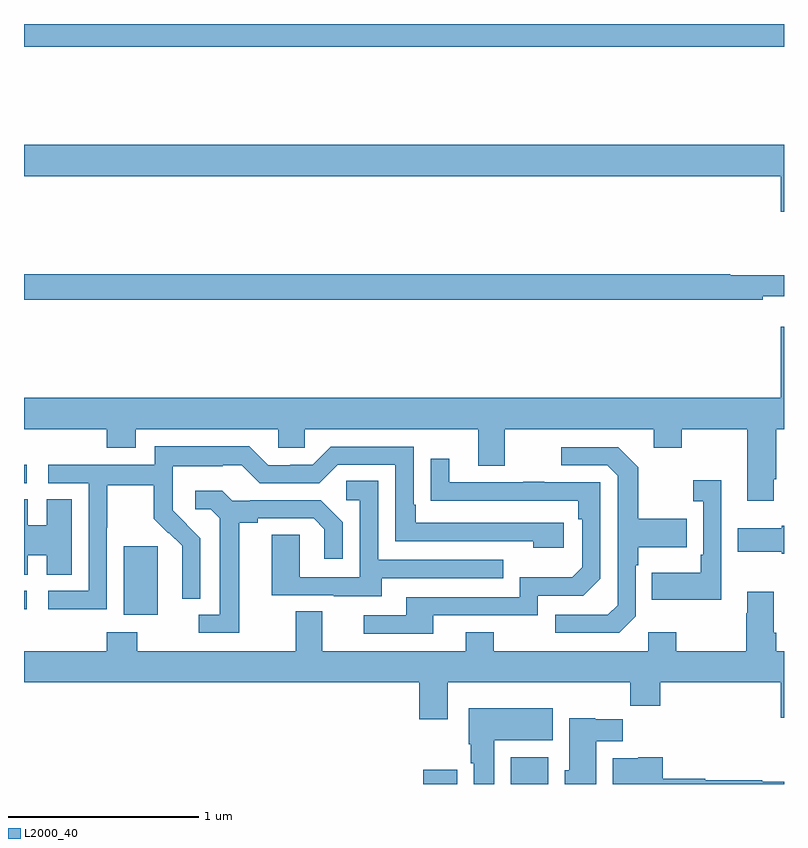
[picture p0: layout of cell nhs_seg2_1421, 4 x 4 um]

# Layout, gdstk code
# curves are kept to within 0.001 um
import gdstk
lib = gdstk.Library(unit=1e-6, precision=1e-09)
def R(c, l, rs):  # rectangles x0, y0, x1, y1
    for r in rs: c.add(gdstk.rectangle(r[:2], r[2:], *l))
def P(c, l, *ps):  # polygons
    for p in ps: c.add(gdstk.Polygon(p, *l))
L2000_40 = (2000, 40)

nhs_seg2_1421 = lib.new_cell('nhs_seg2_1421')
R(nhs_seg2_1421, L2000_40, [(187.1,613.8,187.279,613.876), (187.562,613.8,187.759,613.942), (185.525,614.69,185.704,615.051), (185,614.719,185.014,614.817), (185,615.384,185.014,615.48), (185,617.68,189,617.8)])
P(nhs_seg2_1421, L2000_40, [(189,617.164),(185,617.164),(185,617),(188.984,617),(188.984,616.812),(189,616.812)],
  [(188.888,616.367),(189,616.367),(189,616.477),(188.716,616.477),(188.716,616.484),(185,616.484),(185,616.348),(188.888,616.348)],
  [(185,615.668),(185.435,615.668),(185.435,615.569),(185.587,615.569),(185.587,615.668),(186.339,615.668),(186.339,615.57),(186.477,615.57),(186.477,615.668),(187.391,615.668),(187.391,615.474),(187.531,615.474),(187.531,615.668),(188.315,615.668),(188.315,615.569),(188.463,615.569),(188.463,615.668),(188.807,615.668),(188.807,615.291),(188.947,615.291),(188.947,615.403),(188.96,615.403),(188.96,615.668),(189,615.668),(189,616.207),(188.984,616.207),(188.984,615.832),(185,615.832)],
  [(185.436,615.148),(185.439,615.148),(185.439,615.372),(185.683,615.372),(185.683,615.197),(185.76,615.12),(185.763,615.123),(185.834,615.053),(185.834,614.93),(185.832,614.93),(185.832,614.776),(185.928,614.776),(185.928,615.094),(185.782,615.242),(185.782,615.339),(185.784,615.339),(185.784,615.473),(186.047,615.473),(186.047,615.477),(186.147,615.477),(186.24,615.384),(186.555,615.384),(186.651,615.48),(186.954,615.48),(186.954,615.078),(187.679,615.078),(187.679,615.044),(187.84,615.044),(187.84,615.174),(187.063,615.174),(187.063,615.271),(187.05,615.271),(187.05,615.576),(186.615,615.576),(186.519,615.48),(186.401,615.48),(186.401,615.477),(186.285,615.477),(186.185,615.577),(185.688,615.577),(185.688,615.48),(185.127,615.48),(185.127,615.384),(185.34,615.384),(185.34,614.817),(185.127,614.817),(185.127,614.719),(185.436,614.719)],
  [(188.22,614.682),(188.22,614.951),(188.233,614.951),(188.233,615.047),(188.489,615.047),(188.489,615.195),(188.233,615.195),(188.233,615.467),(188.127,615.573),(187.827,615.573),(187.827,615.477),(188.07,615.477),(188.124,615.423),(188.124,614.742),(188.073,614.691),(187.797,614.691),(187.797,614.595),(188.133,614.595)],
  [(187.153,614.688),(187.704,614.688),(187.704,614.79),(187.944,614.79),(188.034,614.88),(188.034,615.387),(187.739,615.387),(187.739,615.392),(187.627,615.392),(187.627,615.387),(187.237,615.387),(187.237,615.511),(187.141,615.511),(187.141,615.292),(187.918,615.291),(187.918,615.194),(187.938,615.194),(187.938,614.94),(187.885,614.887),(187.608,614.887),(187.608,614.784),(187.013,614.784),(187.013,614.688),(186.789,614.688),(186.789,614.592),(187.153,614.592)],
  [(188.67,615.4),(188.523,615.4),(188.523,615.287),(188.574,615.287),(188.574,615.007),(188.562,615.007),(188.562,614.911),(188.305,614.911),(188.305,614.771),(188.67,614.771)],
  [(186.883,614.883),(187.523,614.883),(187.523,614.979),(186.864,614.979),(186.864,615.395),(186.696,615.395),(186.696,615.294),(186.768,615.294),(186.768,614.889),(186.45,614.889),(186.45,615.113),(186.305,615.113),(186.305,614.793),(186.629,614.793),(186.629,614.789),(186.883,614.789)],
  [(186.133,615.176),(186.229,615.176),(186.229,615.198),(186.524,615.198),(186.581,615.141),(186.581,614.985),(186.678,614.985),(186.678,615.178),(186.562,615.294),(186.19,615.294),(186.19,615.291),(186.096,615.291),(186.044,615.343),(185.901,615.343),(185.901,615.246),(185.982,615.246),(186.029,615.199),(186.029,614.691),(185.919,614.691),(185.919,614.595),(186.133,614.595)],
  [(185.02,615.005),(185.12,615.005),(185.12,614.902),(185.251,614.902),(185.251,615.299),(185.12,615.299),(185.12,615.163),(185.02,615.163),(185.02,615.299),(185,615.299),(185,614.902),(185.02,614.902)],
  [(189,615.158),(188.987,615.158),(188.987,615.145),(188.757,615.145),(188.757,615.023),(188.987,615.023),(188.987,615.011),(189,615.011)],
  [(188.286,614.5),(187.473,614.5),(187.473,614.599),(187.325,614.599),(187.325,614.5),(186.571,614.5),(186.571,614.708),(186.431,614.708),(186.431,614.5),(185.595,614.5),(185.595,614.599),(185.435,614.599),(185.435,614.5),(185,614.5),(185,614.336),(187.079,614.336),(187.079,614.142),(187.231,614.142),(187.231,614.336),(188.191,614.336),(188.191,614.212),(188.348,614.212),(188.348,614.336),(188.984,614.336),(188.984,614.148),(189,614.148),(189,614.5),(188.96,614.5),(188.96,614.596),(188.947,614.596),(188.947,614.812),(188.807,614.812),(188.807,614.699),(188.8,614.699),(188.8,614.5),(188.433,614.5),(188.433,614.599),(188.286,614.599)],
  [(187.474,614.03),(187.783,614.03),(187.783,614.2),(187.34,614.2),(187.34,614.01),(187.352,614.01),(187.352,613.91),(187.367,613.91),(187.367,613.8),(187.474,613.8)],
  [(188.011,614.024),(188.15,614.024),(188.15,614.142),(188.007,614.142),(188.007,614.146),(187.871,614.146),(187.871,613.872),(187.847,613.872),(187.847,613.8),(188.011,613.8)],
  [(189,613.813),(188.886,613.813),(188.886,613.82),(188.586,613.82),(188.586,613.828),(188.363,613.828),(188.363,613.942),(188.232,613.942),(188.232,613.936),(188.099,613.936),(188.099,613.8),(189,613.8)])

lib.write_gds('nhs_seg2_1421.gds')
